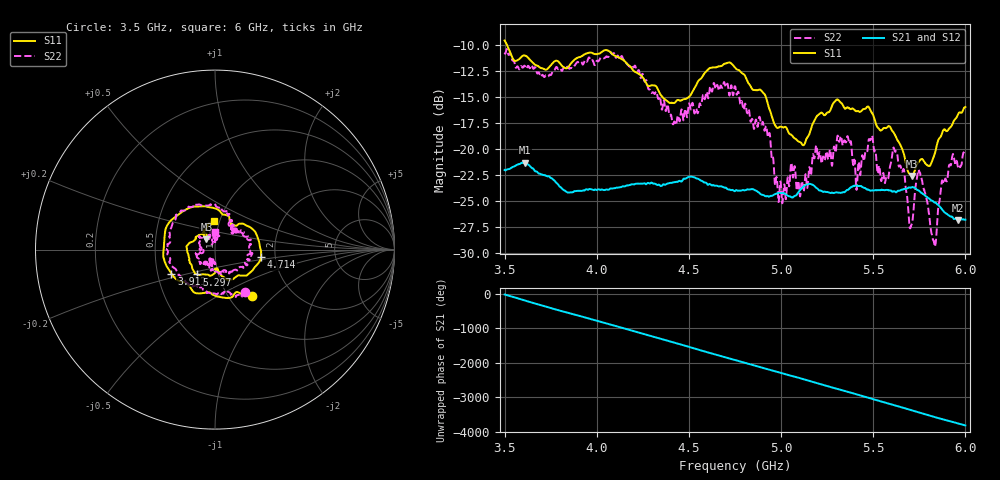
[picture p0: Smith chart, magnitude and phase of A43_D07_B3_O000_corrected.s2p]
! Created with skrf 1.9.0 (http://scikit-rf.org).
# Hz S RI R 50.0
!freq ReS11 ImS11 ReS21 ImS21 ReS12 ImS12 ReS22 ImS22
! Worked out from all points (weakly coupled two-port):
!   1601 points, 3.5 GHz to 6 GHz, reference 50 ohm
!   highest |S21| = -21.34 dB at 3.609 GHz (marker M1); lowest = -26.9 dB at 5.959 GHz (marker M2)
!   lowest |S11| = -22.6 dB at 5.711 GHz (marker M3), VSWR 1.16, Z = 45.2 + j5.12 ohm
!   |S11| at or under -10 dB: 3.513 GHz to end of sweep
!   |S22| runs from -29.4 to -10.4 dB; largest |S21 - S12| = 0.00098
!   S11 on the Smith chart (normalised r, x): 3.5 GHz: 1.28, -0.75; 3.911 GHz: 0.59, -0.17; 4.714 GHz: 1.68, -0.15; 5.297 GHz: 0.79, -0.23; 6 GHz: 0.94, +0.30
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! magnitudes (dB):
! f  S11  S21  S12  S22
! 3.5 GHz  -9.6  -22.0  -22.0  -10.8
! 3.609 GHz  -11.0  -21.3  -21.3  -12.0
! 3.911 GHz  -11.2  -24.0  -24.0  -11.6
! 3.917 GHz  -11.1  -24.1  -24.0  -11.7
! 4.334 GHz  -14.4  -23.5  -23.4  -15.2
! 4.422 GHz  -15.6  -23.2  -23.2  -17.4
! 4.714 GHz  -11.7  -23.9  -23.9  -14.2
! 4.75 GHz  -12.2  -24.1  -24.0  -14.0
! 4.928 GHz  -15.7  -24.6  -24.5  -18.9
! 4.997 GHz  -17.9  -24.3  -24.2  -23.1
! 5.167 GHz  -17.8  -23.5  -23.4  -21.6
! 5.297 GHz  -15.3  -24.2  -24.2  -20.3
! 5.417 GHz  -16.4  -23.6  -23.6  -21.8
! 5.487 GHz  -16.4  -24.0  -24.0  -19.0
! 5.584 GHz  -17.8  -24.0  -24.0  -22.6
! 5.62 GHz  -18.7  -24.1  -24.2  -20.3
! 5.711 GHz  -22.6  -23.7  -23.6  -27.2
! 5.753 GHz  -21.1  -24.1  -24.1  -22.3
! 5.831 GHz  -20.6  -25.2  -25.1  -29.2
! 5.877 GHz  -18.3  -25.9  -25.9  -23.1
! 5.959 GHz  -16.7  -26.9  -26.8  -21.7
! 6 GHz  -16.0  -26.8  -26.8  -20.1
